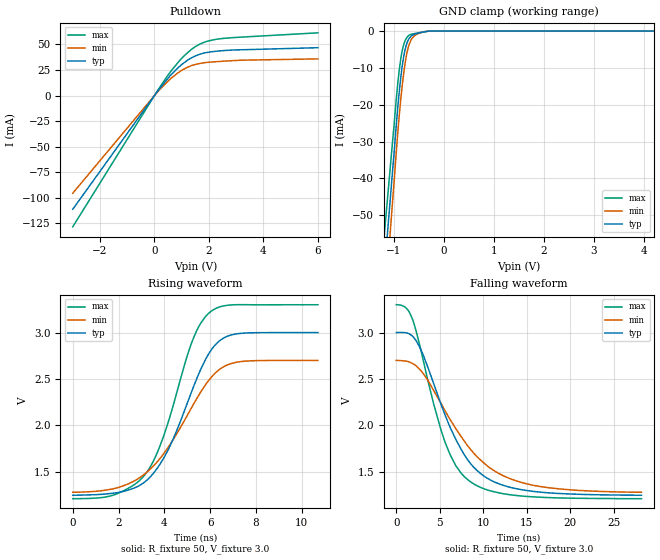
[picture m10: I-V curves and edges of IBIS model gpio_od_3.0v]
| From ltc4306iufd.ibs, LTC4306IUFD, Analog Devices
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[Model]   gpio_od_3.0v
Model_type I/O_open_drain
Vinl=8.000E-01
Vinh=2.000E+00
Vref=3.000E+00
Rref=1.000E+04
Cref=0.000E+00
Vmeas=1.500E+00
C_comp   8.270E-13   7.660E-13   8.870E-13
[Model spec]
Vref  3.00   2.70   3.30
|Vinl
|Vinh
[Voltage Range]   3.000E+00   2.700E+00   3.300E+00
[POWER Clamp Reference]   3.000E+00   2.700E+00   3.300E+00
[GND Clamp Reference]   0.000E+00   0.000E+00   0.000E+00
[Pullup Reference]   3.000E+00   2.700E+00   3.300E+00
[Pulldown Reference]   0.000E+00   0.000E+00   0.000E+00
[Temperature Range]   25   85   -40
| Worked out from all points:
|   slope of the pulldown table from 0 to 0.45 V, typ, clamps not added: 29.2 ohm
|   GND clamp passes 1 mA (typ) near -0.61 V on its own axis
|   rising waveform, R_fixture 50, V_fixture 3.0: 20-80 % time 1.83ns typ, 2.21ns min, 1.63ns max; typ from 1.25 V to 3 V
|   falling waveform, R_fixture 50, V_fixture 3.0: 20-80 % time 4.93ns typ, 6.41ns min, 3.86ns max; typ from 3 V to 1.25 V
[GND Clamp]
-3V       -365.4mA   -400.3mA   -330.6mA
-1.02V    -36.53mA   -44.73mA   -28.68mA
-920mV    -20.07mA   -26.91mA   -13.64mA
-880mV    -14.56mA   -20.73mA   -9.052mA
-840mV    -10mA      -15.37mA   -5.652mA
-800mV    -6.527mA   -10.89mA   -3.442mA
-760mV    -4.104mA   -7.323mA   -2.13mA
-720mV    -2.566mA   -4.709mA   -1.393mA
-660mV    -1.426mA   -2.451mA   -897.8uA
-520mV    -599.3uA   -697.8uA   -499uA
-300mV    0A         0A         0A
6V        0A         0A         0A
[Pulldown]
-3V       -111.4mA   -95.64mA   -128.5mA
160mV     5.752mA    4.867mA    6.708mA
600mV     20.07mA    16.67mA    23.66mA
880mV     27.54mA    22.49mA    32.86mA
1.34V     36.63mA    29.12mA    44.8mA
1.64V     40.16mA    31.27mA    49.96mA
1.82V     41.63mA    32.07mA    52.1mA
2.3V      43.5mA     33.21mA    55.19mA
3.16V     44.78mA    34.59mA    57.16mA
6V        46.85mA    35.9mA     61.4mA
[Rising Waveform]
R_fixture = 50
V_fixture = 3.0
V_fixture_min = 2.7
V_fixture_max = 3.3
0s        1.248V     1.28V      1.211V
1.8ns     1.271V     1.319V     1.251V
3.2ns     1.402V     1.489V     1.485V
3.7ns     1.543V     1.612V     1.713V
4.2ns     1.755V     1.777V     2.06V
5.3ns     2.435V     2.241V     2.96V
6ns       2.797V     2.505V     3.222V
6.5ns     2.928V     2.619V     3.283V
7.1ns     2.984V     2.678V     3.3V
10.7ns    3V         2.7V       3.3V
[Falling Waveform]
R_fixture = 50
V_fixture = 3.0
V_fixture_min = 2.7
V_fixture_max = 3.3
0s        3V         2.7V       3.3V
1.3ns     2.993V     2.688V     3.247V
2.3ns     2.91V      2.639V     3.011V
4.3ns     2.45V      2.377V     2.232V
5.5ns     2.14V      2.176V     1.849V
6.8ns     1.859V     1.972V     1.574V
8.3ns     1.618V     1.77V      1.409V
10.8ns    1.413V     1.541V     1.296V
14.8ns    1.302V     1.375V     1.236V
28.2ns    1.248V     1.28V      1.211V
[Ramp]
dV/dt_r   1.0514E+00/1.8220E-09   8.5206E-01/2.2100E-09   1.2535E+00/1.6320E-09
dV/dt_f   1.0514E+00/4.9232E-09   8.5206E-01/6.4068E-09   1.2535E+00/3.8339E-09
